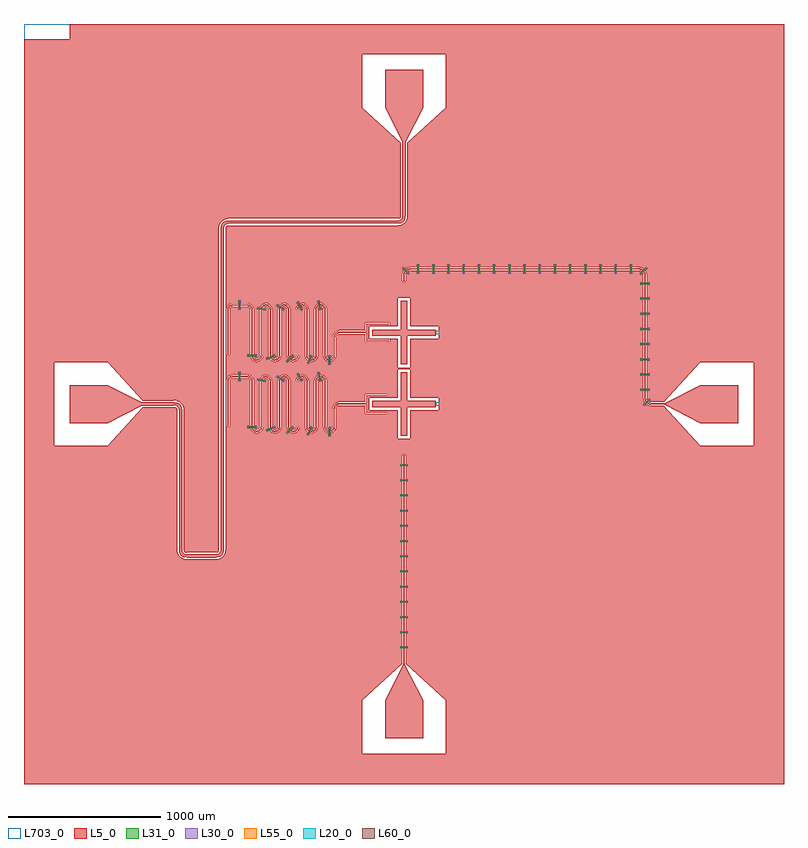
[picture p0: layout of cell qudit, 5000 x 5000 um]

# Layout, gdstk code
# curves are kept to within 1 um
import gdstk
lib = gdstk.Library(unit=1e-6, precision=1e-09)
def R(c, l, rs):  # rectangles x0, y0, x1, y1
    for r in rs: c.add(gdstk.rectangle(r[:2], r[2:], *l))
def A(c, l, x, y, w, h, nx, ny, dx, dy):  # array of equal rectangles
    R(c, l, [(x+i*dx, y+j*dy, x+i*dx+w, y+j*dy+h) for i in range(nx) for j in range(ny)])
def P(c, l, *ps):  # polygons
    for p in ps: c.add(gdstk.Polygon(p, *l))
L5_0 = (5, 0)
L20_0 = (20, 0)
L30_0 = (30, 0)
L31_0 = (31, 0)
L55_0 = (55, 0)
L60_0 = (60, 0)
L703_0 = (703, 0)

qudit = lib.new_cell('qudit')
P(qudit, L5_0, [(-125,-2200),(-125,-1950),(-5,-1713.945),(-5,-341),(-2.5,-330.5),(-2.5,-237),(2.5,-237),(2.5,-330.5),(5,-341),(5,-1713.945),(125,-1950),(125,-2200)],
  [(-20,-210),(-20,-20),(-210,-20),(-210,20),(-20,20),(-20,210),(20,210),(20,20),(210,20),(210,-20),(20,-20),(20,-210)],
  [(-20,260),(-20,450),(-210,450),(-210,490),(-20,490),(-20,680),(20,680),(20,490),(210,490),(210,450),(20,450),(20,260)],
  [(1950,-125),(1713.945,-5),(1631.118,-4.981),(1615.258,-3.577),(1605.235,-0.35),(1596.549,5.124),(1589.528,12.616),(1584.629,21.633),(1581.808,32.864),(1581.004,47.031),(1580.941,844.47),(1579.778,856.248),(1576.774,865.092),(1571.222,872.722),(1563.592,878.274),(1552.962,881.605),(1537.999,882.499),(35.837,881.987),(24.716,879.335),(16.211,874.065),(9.604,865.807),(6.106,855.656),(5,811),(2.5,800.5),(2.5,707),(-2.5,707),(-2.5,800.5),(-5,811),(-4.596,851.057),(0.323,869.646),(7.707,879.793),(17.854,887.177),(29.547,891.135),(45.118,892.481),(1538.426,892.498),(1555.297,891.351),(1568.146,887.177),(1577.965,880.117),(1585.174,870.597),(1589.262,859.688),(1590.909,845.701),(1591.014,45.63),(1592.857,28.582),(1598.836,16.915),(1608.925,8.968),(1622.207,5.473),(1713.945,5),(1950,125),(2200,125),(2200,-125)],
  [(-1421.349,-1010),(-1445.23,-1007.651),(-1454.269,-1004.207),(-1462.634,-998.732),(-1469.806,-991.281),(-1474.958,-982.713),(-1479.737,-961.894),(-1480.006,-46.709),(-1481.209,-31.832),(-1485.356,-21.869),(-1495.552,-13.255),(-1510.712,-10.147),(-1723.781,-10),(-1950,-125),(-2200,-125),(-2200,125),(-1950,125),(-1723.78,10),(-1508.106,9.737),(-1487.601,5.101),(-1479.271,0.221),(-1472.278,-6.184),(-1463.009,-22.536),(-1460.029,-44.354),(-1459.999,-951.989),(-1458.402,-969.796),(-1454.644,-978.131),(-1448.29,-984.534),(-1440.39,-988.239),(-1429.528,-989.841),(-1238.048,-989.909),(-1224.642,-987.946),(-1215.366,-982.68),(-1208.054,-971.358),(-1206.006,-953.291),(-1205.999,1148.03),(-1205.031,1164.603),(-1201.583,1177.29),(-1194.063,1189.426),(-1183.14,1198.619),(-1170.275,1203.901),(-1153.932,1205.92),(-46.709,1206.006),(-31.112,1207.371),(-20.777,1212.151),(-12.613,1223.061),(-10.04,1239.907),(-10,1723.781),(-125,1950),(-125,2200),(125,2200),(125,1950),(10,1723.78),(9.911,1237.779),(8.571,1224.734),(5.311,1214.075),(-0.194,1204.719),(-8.037,1196.725),(-24.291,1188.481),(-45.899,1186.011),(-1152.593,1185.949),(-1163.436,1184.941),(-1171.229,1182.366),(-1177.89,1177.48),(-1182.58,1170.797),(-1185.256,1161.611),(-1185.999,1147.989),(-1186.572,-965.517),(-1190.417,-981.29),(-1198.393,-993.945),(-1210.357,-1003.48),(-1225.206,-1008.661),(-1242.455,-1009.993)],
  [(0.052,-2500),(0.052,-2300),(275,-2300),(275,-1950),(11,-1708.905),(11,-341),(5.5,-330.5),(5.5,-234),(0.052,-234),(0.052,-230),(40,-230),(40,-40),(230,-40),(230,40),(40,40),(40,230),(0.052,230),(0.052,240),(40,240),(40,430),(230,430),(230,510),(40,510),(40,700),(0.052,700),(0.052,704),(5.5,704),(5.5,800.5),(11,811),(12.081,854.95),(14.653,862.525),(19.285,868.739),(30.171,874.857),(47.622,876.498),(1537.987,876.499),(1551.569,875.751),(1560.778,872.974),(1566.979,868.479),(1571.557,862.112),(1574.943,844.316),(1575.015,45.47),(1576.971,26.128),(1583.27,11.146),(1589.34,3.59),(1597.146,-2.73),(1605.787,-7.089),(1615.661,-9.76),(1630.764,-10.977),(1708.905,-11),(1950,-275),(2300,-275),(2300,275),(1950,275),(1708.905,11),(1622.39,11.489),(1610.242,15.051),(1601.621,23.287),(1598.081,32.55),(1597.006,46.714),(1596.896,846.191),(1594.99,861.534),(1590.185,873.934),(1581.905,884.654),(1570.878,892.519),(1556.818,897.174),(1538.996,898.496),(0.052,898.5),(0.052,1187.833),(9.477,1197.612),(16.308,1209.272),(20.349,1222.436),(21.928,1238.179),(22,1718.95),(275,1950),(275,2300),(0.052,2300),(0.052,2500),(2500,2500),(2500,-2500)],
  [(0.052,880.223),(0.052,898.5),(48.65,898.5),(32.192,897.656),(19.787,894.589),(14.185,892.026),(8.961,888.733),(4.222,884.776)],
  [(-2500,2300),(-2500,2400),(-2200,2400),(-2200,2500),(0.052,2500),(0.052,2300)],
  [(-1174,898.5),(-1173.887,1154.281),(-1171.116,1166.779),(-1167.332,1170.756),(-1162.334,1172.901),(-1147.319,1174),(-44.768,1174.022),(-19.663,1177.334),(-9.338,1181.592),(0.052,1187.833),(0.052,898.5)],
  [(-1174,700),(-1174,898.5),(0.052,898.5),(0.052,880.223),(-5.178,872.063),(-8.66,862.83),(-11,838.85),(-11,811),(-5.5,800.5),(-5.5,704),(0.052,704),(0.052,700)],
  [(-1174,230),(-1174,660.945),(-1129.044,660.945),(-1143.632,658.245),(-1156.338,650.501),(-1165.443,638.732),(-1169.748,624.489),(-1170,319.945),(-1164,319.945),(-1163.785,623.824),(-1160.36,635.487),(-1153.153,645.276),(-1143.033,652.009),(-1131.774,654.835),(-1023.47,654.506),(-1014.967,652.009),(-1007.364,647.457),(-1001.488,641.581),(-996.936,633.978),(-994.004,620.5),(-993.949,318.359),(-992.209,310.654),(-988.151,303.876),(-982.18,298.702),(-974.894,295.65),(-964.659,295.325),(-955.152,299.131),(-947.969,306.429),(-944.315,315.995),(-943.842,623.272),(-940.603,634.988),(-934.331,644.098),(-924.543,651.305),(-913.981,654.589),(-900.748,653.959),(-888.698,648.456),(-878.97,637.924),(-874.439,625.475),(-873.949,318.359),(-872.209,310.654),(-868.651,304.491),(-862.848,299.131),(-856.423,296.073),(-845.442,295.2),(-835.82,298.702),(-827.969,306.429),(-824.315,315.995),(-823.842,623.272),(-820.603,634.988),(-814.331,644.098),(-804.543,651.305),(-793.981,654.589),(-780.748,653.959),(-768.698,648.456),(-758.97,637.924),(-754.439,625.475),(-753.949,318.359),(-752.209,310.654),(-748.651,304.491),(-743.501,299.581),(-737.176,296.321),(-726.229,295.1),(-715.82,298.702),(-707.969,306.429),(-704.315,315.995),(-703.842,623.272),(-701.064,633.978),(-695.085,643.282),(-685.53,650.796),(-675.078,654.414),(-661.832,654.204),(-648.698,648.456),(-638.97,637.924),(-634.439,625.475),(-633.949,318.359),(-632.492,311.395),(-629.131,305.123),(-618.658,296.887),(-607.019,295.024),(-596.5,298.295),(-588.409,305.769),(-584.315,315.995),(-583.842,623.272),(-581.064,633.978),(-575.085,643.282),(-566.5,650.256),(-556.168,654.204),(-541.832,654.204),(-528.698,648.456),(-518.97,637.924),(-514.439,625.475),(-513.987,319.152),(-510.031,306.429),(-500.806,297.909),(-490.19,294.974),(-479.342,296.887),(-470.369,303.276),(-465.013,312.902),(-463.89,442.719),(-460.603,454.988),(-452.748,465.656),(-442.522,472.228),(-430.665,474.906),(-249,474.945),(-249,529),(-99,529),(-99,519),(-239,519),(-239,421),(-99,421),(-99,411),(-249,411),(-249,464.945),(-436.043,463.932),(-442.848,460.759),(-448.151,456.015),(-451.903,449.968),(-453.799,443.11),(-454.017,318.835),(-456.507,306.937),(-464.448,295),(-476.509,287.249),(-490.665,284.984),(-504.543,288.585),(-511.921,293.493),(-518.444,301.022),(-522.253,309.024),(-523.93,317.725),(-524.202,623.11),(-527.969,633.461),(-535.152,640.759),(-544.659,644.565),(-554.894,644.24),(-562.18,641.188),(-568.151,636.014),(-572.209,629.236),(-573.949,621.531),(-574.632,313.321),(-580.815,299.193),(-592.47,289.094),(-607.335,284.984),(-622.522,287.662),(-631.07,292.779),(-637.185,299.193),(-641.89,307.974),(-643.93,317.725),(-644.202,623.11),(-647.154,632.1),(-653.86,639.839),(-663.106,644.24),(-673.341,644.565),(-681.5,641.595),(-687.631,636.614),(-692.209,629.236),(-693.949,621.531),(-694.632,313.321),(-700.815,299.193),(-711.5,289.634),(-726.226,285.054),(-740.448,286.869),(-750.197,292.093),(-757.185,299.193),(-761.89,307.974),(-763.93,317.725),(-764.315,623.895),(-767.969,633.461),(-774.499,640.309),(-783.106,644.24),(-793.341,644.565),(-801.5,641.595),(-807.631,636.614),(-812.209,629.236),(-813.949,621.531),(-814.632,313.321),(-820.171,300.098),(-830.547,290.204),(-844.019,285.301),(-858.327,286.21),(-867.453,290.204),(-875.812,297.447),(-881.493,306.937),(-883.93,317.725),(-884.315,623.895),(-887.551,632.787),(-893.86,639.839),(-903.106,644.24),(-912.558,644.69),(-920.806,641.981),(-927.093,637.197),(-931.902,629.968),(-933.949,621.531),(-934.632,313.321),(-940.171,300.098),(-950.547,290.204),(-962.922,285.476),(-977.252,285.931),(-987.453,290.204),(-995.812,297.447),(-1001.064,305.912),(-1003.842,316.618),(-1004.003,620.342),(-1006.097,629.968),(-1014.177,640.077),(-1026.229,644.791),(-1131.376,644.832),(-1139.745,642.518),(-1146.817,637.482),(-1151.903,629.968),(-1153.95,621.531),(-1154,319.945),(-1148,319.945),(-1147.94,621.451),(-1146.283,627.838),(-1142.541,633.273),(-1136.893,637.228),(-1130.506,638.885),(-1027.194,638.859),(-1017.979,635.422),(-1011.594,627.563),(-1010,619.901),(-1009.816,316.048),(-1006.562,303.506),(-999.557,292.607),(-989.501,284.437),(-977.397,279.813),(-960.603,279.813),(-946.289,285.808),(-934.507,297.778),(-928.74,312.185),(-927.96,621.15),(-926.405,627.562),(-922.75,633.056),(-917.437,636.968),(-911.704,638.75),(-903.937,638.257),(-897.02,634.691),(-892.113,628.651),(-890.04,621.15),(-889.486,313.467),(-886.021,302.323),(-879.557,292.607),(-870.617,285.105),(-859.926,280.426),(-843.165,279.361),(-827.383,285.105),(-815.228,296.695),(-808.74,312.185),(-807.96,621.15),(-806.638,627.006),(-803.159,632.613),(-798.499,636.398),(-792.299,638.655),(-783.937,638.257),(-777.02,634.691),(-772.113,628.651),(-770.04,621.15),(-769.672,314.755),(-766.562,303.506),(-760.409,293.59),(-751.711,285.808),(-742.41,281.199),(-733.545,279.196),(-724.455,279.196),(-708.499,284.437),(-701.18,289.826),(-695.228,296.695),(-688.74,312.185),(-687.96,621.15),(-686.638,627.006),(-683.159,632.613),(-678.499,636.398),(-672.299,638.655),(-663.937,638.257),(-657.02,634.691),(-652.113,628.651),(-650.04,621.15),(-649.672,314.755),(-647.064,304.706),(-642.017,295.635),(-634.854,288.122),(-624.841,282.127),(-616.12,279.567),(-607.049,278.99),(-598.074,280.426),(-589.636,283.804),(-582.15,288.958),(-575.983,295.635),(-571.438,303.506),(-568.74,312.185),(-567.989,620.548),(-566.638,627.006),(-563.554,632.157),(-553.479,638.408),(-545.701,638.655),(-538.476,635.763),(-533.017,630.216),(-530.154,622.35),(-529.919,317.345),(-527.954,307.151),(-523.493,297.778),(-515.85,288.958),(-507.207,283.208),(-490.951,278.99),(-474.367,281.644),(-460.239,290.724),(-450.936,304.706),(-448.019,318.644),(-447.883,442.051),(-443.555,452.158),(-434.353,458.175),(-254,458.945),(-254,406),(-94,406),(-94,426),(-234,426),(-234,514),(-94,514),(-94,534),(-254,534),(-254,480.945),(-431.6,480.863),(-445.438,477.506),(-457.293,469.618),(-466.02,457.567),(-469.871,443.194),(-470.61,315.174),(-474.446,307.733),(-481.108,302.663),(-489.904,300.968),(-497.972,303.199),(-504.983,309.674),(-507.989,319.342),(-508.514,626.423),(-514.507,642.112),(-525.217,653.344),(-540.603,660.077),(-557.397,660.077),(-568.364,656.086),(-578.674,648.239),(-586.021,637.567),(-589.486,626.423),(-590.087,318.139),(-593.017,309.674),(-599.501,303.492),(-608.096,300.968),(-616.892,302.663),(-624.983,309.674),(-627.989,319.342),(-628.514,626.423),(-634.507,642.112),(-645.217,653.344),(-659.334,659.791),(-676.12,660.323),(-688.364,656.086),(-698.674,648.239),(-706.021,637.567),(-709.486,626.423),(-710.087,318.139),(-713.017,309.674),(-718.983,303.801),(-726.894,301.063),(-735.214,301.991),(-744.299,308.681),(-747.989,319.342),(-748.514,626.423),(-754.507,642.112),(-765.217,653.344),(-779.334,659.791),(-794.835,660.529),(-807.207,656.682),(-817.761,649.166),(-825.443,638.733),(-829.486,626.423),(-830.04,318.74),(-832.398,310.708),(-838.476,304.127),(-846.296,301.14),(-854.641,301.803),(-863.934,308.201),(-867.989,319.342),(-868.514,626.423),(-873.821,641.006),(-884.169,652.572),(-898.074,659.464),(-913.545,660.694),(-926.033,657.241),(-936.82,650.064),(-944.829,639.88),(-949.486,626.423),(-950.04,318.74),(-952.398,310.708),(-957.98,304.469),(-965.701,301.235),(-974.063,301.633),(-983.554,307.733),(-987.96,318.74),(-988.005,620.596),(-989.155,629.611),(-992.264,638.152),(-998.014,646.795),(-1005.217,653.343),(-1013.762,658.008),(-1023.81,660.615),(-1174,660.945),(-1174,700),(-40,700),(-40,510),(-230,510),(-230,430),(-40,430),(-40,240),(0.052,240),(0.052,230)],
  [(-1174,-234),(-1174,190.945),(-1129.044,190.945),(-1143.632,188.245),(-1156.338,180.501),(-1165.443,168.732),(-1169.748,154.489),(-1170,-150.055),(-1164,-150.055),(-1163.785,153.824),(-1160.36,165.487),(-1153.153,175.276),(-1143.033,182.009),(-1131.774,184.835),(-1023.47,184.506),(-1014.967,182.009),(-1007.364,177.457),(-1001.488,171.581),(-996.936,163.978),(-994.004,150.5),(-993.949,-151.641),(-992.209,-159.346),(-988.151,-166.124),(-982.18,-171.298),(-974.894,-174.35),(-964.659,-174.675),(-955.152,-170.869),(-947.969,-163.571),(-944.315,-154.005),(-943.842,153.272),(-940.603,164.988),(-934.331,174.098),(-924.543,181.305),(-913.981,184.589),(-900.748,183.959),(-888.698,178.456),(-878.97,167.924),(-874.439,155.475),(-873.949,-151.641),(-872.209,-159.346),(-868.651,-165.509),(-862.848,-170.869),(-856.423,-173.927),(-845.442,-174.8),(-835.82,-171.298),(-827.969,-163.571),(-824.315,-154.005),(-823.842,153.272),(-820.603,164.988),(-814.331,174.098),(-804.543,181.305),(-793.981,184.589),(-780.748,183.959),(-768.698,178.456),(-758.97,167.924),(-754.439,155.475),(-753.949,-151.641),(-752.209,-159.346),(-748.651,-165.509),(-743.501,-170.419),(-737.176,-173.679),(-726.229,-174.9),(-715.82,-171.298),(-707.969,-163.571),(-704.315,-154.005),(-703.842,153.272),(-701.064,163.978),(-695.085,173.282),(-685.53,180.796),(-675.078,184.414),(-661.832,184.204),(-648.698,178.456),(-638.97,167.924),(-634.439,155.475),(-633.949,-151.641),(-632.492,-158.605),(-629.131,-164.877),(-618.658,-173.113),(-607.019,-174.976),(-596.5,-171.705),(-588.409,-164.231),(-584.315,-154.005),(-583.842,153.272),(-581.064,163.978),(-575.812,172.443),(-567.453,179.686),(-557.252,183.959),(-542.922,184.414),(-529.612,179.085),(-519.556,168.868),(-514.439,155.475),(-513.987,-150.848),(-510.031,-163.571),(-500.806,-172.091),(-490.981,-174.976),(-480.078,-173.408),(-470.907,-167.307),(-465.508,-158.605),(-464,-150.015),(-463.561,-24.525),(-460.603,-15.012),(-455.084,-6.718),(-447.453,-0.314),(-438.861,3.527),(-429.02,4.945),(-249,4.945),(-249,59),(-114,59),(-114,49),(-239,49),(-239,-49),(-114,-49),(-114,-59),(-249,-59),(-249,-5.055),(-428.98,-5.055),(-436.423,-6.183),(-442.848,-9.241),(-448.151,-13.985),(-451.903,-20.032),(-453.799,-26.89),(-454.017,-151.165),(-456.507,-163.063),(-464.448,-175),(-477.552,-183.131),(-491.774,-184.946),(-505.53,-180.906),(-512.748,-175.766),(-518.444,-168.978),(-522.253,-160.976),(-523.93,-152.275),(-524.202,153.11),(-527.969,163.461),(-535.152,170.759),(-544.659,174.565),(-554.894,174.24),(-562.18,171.188),(-568.151,166.014),(-572.209,159.236),(-573.949,151.531),(-574.632,-156.679),(-580.815,-170.807),(-592.47,-180.906),(-607.335,-185.016),(-622.522,-182.338),(-631.07,-177.221),(-637.185,-170.807),(-641.89,-162.026),(-643.93,-152.275),(-644.315,153.895),(-647.969,163.461),(-655.152,170.759),(-664.659,174.565),(-674.12,174.414),(-682.18,171.188),(-688.151,166.014),(-692.209,159.236),(-693.949,151.531),(-694.632,-156.679),(-700.815,-170.807),(-711.5,-180.366),(-726.226,-184.946),(-740.448,-183.131),(-750.197,-177.907),(-757.185,-170.807),(-761.89,-162.026),(-763.93,-152.275),(-764.315,153.895),(-767.969,163.461),(-774.499,170.309),(-783.106,174.24),(-793.341,174.565),(-801.5,171.595),(-807.631,166.614),(-812.209,159.236),(-813.949,151.531),(-814.632,-156.679),(-820.171,-169.902),(-830.547,-179.796),(-844.019,-184.699),(-858.327,-183.79),(-867.453,-179.796),(-875.812,-172.553),(-881.493,-163.063),(-883.93,-152.275),(-884.315,153.895),(-887.551,162.787),(-893.86,169.839),(-903.106,174.24),(-912.558,174.69),(-920.806,171.981),(-927.093,167.197),(-931.902,159.968),(-933.949,151.531),(-934.632,-156.679),(-940.171,-169.902),(-950.547,-179.796),(-962.922,-184.524),(-977.252,-184.069),(-987.453,-179.796),(-995.812,-172.553),(-1001.064,-164.088),(-1003.842,-153.382),(-1004.003,150.342),(-1006.097,159.968),(-1014.177,170.077),(-1026.229,174.791),(-1131.376,174.832),(-1139.745,172.518),(-1146.817,167.482),(-1151.903,159.968),(-1153.95,151.531),(-1154,-150.055),(-1148,-150.055),(-1147.94,151.451),(-1146.283,157.838),(-1142.541,163.273),(-1136.893,167.228),(-1130.506,168.885),(-1027.194,168.859),(-1017.735,165.245),(-1011.476,157.285),(-1010,149.901),(-1009.816,-153.952),(-1006.562,-166.494),(-1000.409,-176.41),(-990.617,-184.895),(-978.666,-189.901),(-961.88,-190.433),(-946.289,-184.192),(-934.507,-172.222),(-928.74,-157.815),(-927.96,151.15),(-926.405,157.562),(-922.75,163.056),(-917.437,166.968),(-911.704,168.75),(-903.937,168.257),(-897.02,164.691),(-892.113,158.651),(-890.04,151.15),(-889.486,-156.533),(-886.021,-167.677),(-879.557,-177.393),(-870.617,-184.895),(-859.926,-189.574),(-843.165,-190.639),(-827.383,-184.895),(-815.228,-173.305),(-808.74,-157.815),(-807.96,151.15),(-806.638,157.006),(-803.159,162.613),(-798.499,166.398),(-792.299,168.655),(-783.937,168.257),(-777.02,164.691),(-772.113,158.651),(-770.04,151.15),(-769.672,-155.245),(-766.562,-166.494),(-760.409,-176.41),(-751.711,-184.192),(-742.41,-188.801),(-733.545,-190.804),(-724.455,-190.804),(-708.499,-185.563),(-701.18,-180.174),(-695.228,-173.305),(-688.74,-157.815),(-687.96,151.15),(-686.638,157.006),(-683.159,162.613),(-672.891,168.541),(-665.109,168.541),(-657.98,165.421),(-652.7,159.704),(-650.154,152.35),(-649.919,-152.655),(-647.529,-164.078),(-642.772,-173.305),(-634.854,-181.878),(-624.841,-187.873),(-616.12,-190.433),(-607.049,-191.01),(-598.074,-189.574),(-589.636,-186.196),(-582.15,-181.042),(-575.983,-174.365),(-571.438,-166.494),(-568.74,-157.815),(-567.989,150.548),(-566.638,157.006),(-563.554,162.157),(-553.479,168.408),(-545.701,168.655),(-538.476,165.763),(-533.017,160.216),(-530.154,152.35),(-529.919,-152.655),(-527.954,-162.849),(-523.493,-172.222),(-516.82,-180.174),(-508.364,-186.196),(-492.249,-190.927),(-475.59,-188.801),(-461.18,-180.174),(-451.438,-166.494),(-448.019,-151.356),(-447.883,-27.949),(-443.555,-17.842),(-434.641,-11.912),(-254,-11.055),(-254,-64),(-109,-64),(-109,-44),(-234,-44),(-234,44),(-109,44),(-109,64),(-254,64),(-254,10.945),(-431.6,10.863),(-445.438,7.506),(-457.293,-0.382),(-466.02,-12.433),(-469.871,-26.806),(-470.61,-154.826),(-474.841,-162.723),(-481.66,-167.578),(-490.506,-168.994),(-498.499,-166.508),(-505.3,-159.814),(-507.989,-150.658),(-508.514,156.423),(-514.507,172.112),(-525.217,183.344),(-540.603,190.077),(-557.397,190.077),(-568.364,186.086),(-578.674,178.239),(-586.021,167.567),(-589.486,156.423),(-590.087,-151.861),(-593.017,-160.326),(-599.501,-166.508),(-608.096,-169.032),(-616.892,-167.337),(-624.983,-160.326),(-627.989,-150.658),(-628.514,156.423),(-634.507,172.112),(-645.217,183.344),(-659.334,189.791),(-676.12,190.323),(-688.364,186.086),(-698.674,178.239),(-706.021,167.567),(-709.486,156.423),(-710.087,-151.861),(-713.017,-160.326),(-718.983,-166.199),(-726.894,-168.937),(-735.78,-167.803),(-744.649,-160.828),(-747.989,-150.658),(-748.514,156.423),(-754.507,172.112),(-765.217,183.344),(-779.334,189.791),(-794.835,190.529),(-807.207,186.682),(-817.761,179.166),(-825.443,168.733),(-829.486,156.423),(-830.04,-151.26),(-832.398,-159.292),(-838.476,-165.873),(-846.296,-168.86),(-854.641,-168.197),(-863.934,-161.799),(-867.989,-150.658),(-868.514,156.423),(-873.821,171.006),(-884.169,182.572),(-898.074,189.464),(-913.545,190.694),(-926.033,187.241),(-936.82,180.064),(-944.829,169.88),(-949.486,156.423),(-950.04,-151.26),(-952.398,-159.292),(-957.98,-165.531),(-965.701,-168.765),(-974.063,-168.367),(-983.554,-162.267),(-987.96,-151.26),(-988.005,150.596),(-989.155,159.611),(-992.264,168.152),(-998.014,176.795),(-1005.217,183.343),(-1013.762,188.008),(-1023.81,190.615),(-1174,190.945),(-1174,230),(-40,230),(-40,40),(-230,40),(-230,-40),(-40,-40),(-40,-230),(0.052,-230),(0.052,-234)],
  [(-2500,-2500),(-2500,2300),(-275,2300),(-275,1950),(-22,1718.95),(-22.008,1242.407),(-22.956,1230.283),(-26.011,1223.659),(-33.146,1219.233),(-46.901,1218.005),(-1156.039,1217.852),(-1176.534,1214.605),(-1193.334,1206.256),(-1206.637,1192.801),(-1214.958,1175.352),(-1217.321,1163.151),(-1218,1147.36),(-1218.002,-952.346),(-1218.808,-964.989),(-1221.724,-971.986),(-1227.919,-976.39),(-1238.91,-977.931),(-1426.193,-977.955),(-1440.121,-975.497),(-1444.43,-971.785),(-1446.818,-966.662),(-1448,-951.319),(-1448.09,-41.553),(-1450.007,-24.724),(-1454.99,-10.503),(-1463.582,2.094),(-1475.009,11.861),(-1490.845,19.015),(-1509.961,21.852),(-1718.95,22),(-1950,275),(-2300,275),(-2300,-275),(-1950,-275),(-1718.95,-22),(-1514.73,-22.027),(-1504.715,-22.866),(-1498.585,-25.302),(-1493.481,-32.306),(-1492.012,-45.92),(-1491.998,-952.477),(-1489.439,-977.592),(-1482.903,-993.324),(-1472.418,-1006.124),(-1458.713,-1015.396),(-1442.249,-1020.593),(-1423.188,-1021.995),(-1239.716,-1021.962),(-1214.276,-1018.224),(-1203.807,-1013.565),(-1194.56,-1006.997),(-1186.523,-998.388),(-1180.416,-988.319),(-1176.511,-977.397),(-1174.44,-964.706),(-1174,-234),(-5.5,-234),(-5.5,-330.5),(-11,-341),(-11,-1708.905),(-275,-1950),(-275,-2300),(0.052,-2300),(0.052,-2500)])
R(qudit, L20_0, [(221,-11.5,229,-8.5), (221,8.5,229,11.5), (221,458.5,229,461.5), (221,478.5,229,481.5)])
P(qudit, L20_0, [(211,-11.5),(211,-8.5),(219,-8.5),(219.5,-9.945),(220.86,-9.945),(220.86,-10.055),(219.5,-10.055),(219,-11.5)],
  [(211,8.5),(211,11.5),(219,11.5),(219.5,10.1),(220.86,10.1),(220.86,9.9),(219.5,9.9),(219,8.5)],
  [(211,458.5),(211,461.5),(219,461.5),(219.5,460.055),(220.86,460.055),(220.86,459.945),(219.5,459.945),(219,458.5)],
  [(211,478.5),(211,481.5),(219,481.5),(219.5,480.1),(220.86,480.1),(220.86,479.9),(219.5,479.9),(219,478.5)])
A(qudit, L30_0, -22.5, -1607, 10, 10.5, 1, 13, 0, 100)
A(qudit, L30_0, 12.5, -1607, 10, 10.5, 1, 13, 0, 100)
A(qudit, L30_0, 1556.5, 87.25, 14, 13, 1, 8, 0, 100)
A(qudit, L30_0, 1601.5, 87.25, 14, 13, 1, 8, 0, 100)
A(qudit, L30_0, 86.5, 858, 13, 14, 15, 2, 100, 45)
R(qudit, L30_0, [(-1087.841,150.445,-1074.841,164.445), (-1087.841,195.445,-1074.841,209.445), (-1087.841,620.445,-1074.841,634.445), (-1087.841,665.445,-1074.841,679.445)])
P(qudit, L30_0, [(1580.931,-14.182),(1571.756,-4.972),(1581.675,4.909),(1590.849,-4.301)],
  [(1612.811,17.577),(1603.637,26.787),(1613.555,36.668),(1622.73,27.458)],
  [(1558.542,850.77),(1549.332,859.945),(1559.213,869.863),(1568.423,860.689)],
  [(1590.301,882.651),(1581.091,891.825),(1590.972,901.744),(1600.182,892.569)],
  [(-555.088,619.079),(-558.172,632.735),(-545.492,635.599),(-542.408,621.943)],
  [(-674.403,616.828),(-682.341,628.359),(-671.634,635.731),(-663.695,624.199)],
  [(-954.842,623.002),(-968.545,625.87),(-965.882,638.594),(-952.179,635.727)],
  [(-830.372,639.895),(-842.028,647.65),(-834.827,658.473),(-823.171,650.718)],
  [(-699.92,653.893),(-707.859,665.425),(-697.151,672.796),(-689.213,661.265)],
  [(-565.002,662.973),(-568.086,676.629),(-555.406,679.493),(-552.322,665.837)],
  [(-910.796,143.786),(-924.499,146.653),(-921.836,159.378),(-908.133,156.51)],
  [(-792.907,144.969),(-804.563,152.724),(-797.362,163.547),(-785.706,155.792)],
  [(-555.088,149.079),(-558.172,162.735),(-545.492,165.599),(-542.408,151.943)],
  [(-674.403,146.828),(-682.341,158.359),(-671.634,165.731),(-663.695,154.199)],
  [(27.555,850.832),(17.637,860.713),(26.811,869.923),(36.73,860.042)],
  [(-954.842,153.002),(-968.545,155.87),(-965.882,168.594),(-952.179,165.727)],
  [(-830.372,169.895),(-842.028,177.65),(-834.827,188.473),(-823.171,180.718)],
  [(-482.548,-164.763),(-495.542,-164.351),(-495.098,-150.358),(-482.104,-150.77)],
  [(-608.558,-166.072),(-620.467,-160.86),(-614.854,-148.035),(-602.945,-153.247)],
  [(-699.92,183.893),(-707.859,195.425),(-697.151,202.796),(-689.213,191.265)],
  [(-565.002,192.973),(-568.086,206.629),(-555.406,209.493),(-552.322,195.837)],
  [(-483.976,260.26),(-496.97,260.672),(-496.526,274.665),(-483.532,274.253)],
  [(-626.6,262.703),(-638.509,267.915),(-632.896,280.74),(-620.987,275.528)],
  [(-766.677,273.408),(-775.796,282.673),(-765.818,292.494),(-756.699,283.229)],
  [(-734.606,-165.026),(-743.725,-155.761),(-733.747,-145.94),(-724.628,-155.205)],
  [(-859.802,-161.788),(-864.825,-149.797),(-851.912,-144.389),(-846.889,-156.379)],
  [(-901.308,290.827),(-906.331,302.817),(-893.418,308.226),(-888.395,296.235)],
  [(-4.325,882.591),(-14.244,892.472),(-5.069,901.682),(4.849,891.801)],
  [(-482.548,305.237),(-495.542,305.649),(-495.098,319.642),(-482.104,319.23)],
  [(-608.558,303.928),(-620.467,309.14),(-614.854,321.965),(-602.945,316.753)],
  [(-734.606,304.974),(-743.725,314.239),(-733.747,324.06),(-724.628,314.795)],
  [(-859.802,308.212),(-864.825,320.203),(-851.912,325.611),(-846.889,313.621)],
  [(-1028.385,312.442),(-1028.591,325.44),(-1014.593,325.662),(-1014.387,312.664)],
  [(-983.391,313.156),(-983.597,326.154),(-969.599,326.376),(-969.393,313.378)],
  [(-1028.385,-157.558),(-1028.591,-144.56),(-1014.593,-144.338),(-1014.387,-157.336)],
  [(-983.391,-156.844),(-983.597,-143.846),(-969.599,-143.624),(-969.393,-156.622)],
  [(-483.976,-209.74),(-496.97,-209.328),(-496.526,-195.335),(-483.532,-195.747)],
  [(-626.6,-207.297),(-638.509,-202.085),(-632.896,-189.26),(-620.987,-194.472)],
  [(-766.677,-196.592),(-775.796,-187.327),(-765.818,-177.506),(-756.699,-186.771)],
  [(-901.308,-179.173),(-906.331,-167.183),(-893.418,-161.774),(-888.395,-173.765)],
  [(-910.796,613.786),(-924.499,616.653),(-921.836,629.378),(-908.133,626.51)],
  [(-792.907,614.969),(-804.563,622.724),(-797.362,633.547),(-785.706,625.792)])
P(qudit, L31_0, [(-24,-1608.5),(-24,-1595),(-11,-1595),(-11,-1598),(11,-1598),(11,-1595),(24,-1595),(24,-1608.5),(11,-1608.5),(11,-1605.5),(-11,-1605.5),(-11,-1608.5)],
  [(-24,-1508.5),(-24,-1495),(-11,-1495),(-11,-1498),(11,-1498),(11,-1495),(24,-1495),(24,-1508.5),(11,-1508.5),(11,-1505.5),(-11,-1505.5),(-11,-1508.5)],
  [(-24,-1408.5),(-24,-1395),(-11,-1395),(-11,-1398),(11,-1398),(11,-1395),(24,-1395),(24,-1408.5),(11,-1408.5),(11,-1405.5),(-11,-1405.5),(-11,-1408.5)],
  [(-24,-1308.5),(-24,-1295),(-11,-1295),(-11,-1298),(11,-1298),(11,-1295),(24,-1295),(24,-1308.5),(11,-1308.5),(11,-1305.5),(-11,-1305.5),(-11,-1308.5)],
  [(-24,-1208.5),(-24,-1195),(-11,-1195),(-11,-1198),(11,-1198),(11,-1195),(24,-1195),(24,-1208.5),(11,-1208.5),(11,-1205.5),(-11,-1205.5),(-11,-1208.5)],
  [(-24,-1108.5),(-24,-1095),(-11,-1095),(-11,-1098),(11,-1098),(11,-1095),(24,-1095),(24,-1108.5),(11,-1108.5),(11,-1105.5),(-11,-1105.5),(-11,-1108.5)],
  [(-24,-1008.5),(-24,-995),(-11,-995),(-11,-998),(11,-998),(11,-995),(24,-995),(24,-1008.5),(11,-1008.5),(11,-1005.5),(-11,-1005.5),(-11,-1008.5)],
  [(-24,-908.5),(-24,-895),(-11,-895),(-11,-898),(11,-898),(11,-895),(24,-895),(24,-908.5),(11,-908.5),(11,-905.5),(-11,-905.5),(-11,-908.5)],
  [(-24,-808.5),(-24,-795),(-11,-795),(-11,-798),(11,-798),(11,-795),(24,-795),(24,-808.5),(11,-808.5),(11,-805.5),(-11,-805.5),(-11,-808.5)],
  [(-24,-708.5),(-24,-695),(-11,-695),(-11,-698),(11,-698),(11,-695),(24,-695),(24,-708.5),(11,-708.5),(11,-705.5),(-11,-705.5),(-11,-708.5)],
  [(-24,-608.5),(-24,-595),(-11,-595),(-11,-598),(11,-598),(11,-595),(24,-595),(24,-608.5),(11,-608.5),(11,-605.5),(-11,-605.5),(-11,-608.5)],
  [(-24,-508.5),(-24,-495),(-11,-495),(-11,-498),(11,-498),(11,-495),(24,-495),(24,-508.5),(11,-508.5),(11,-505.5),(-11,-505.5),(-11,-508.5)],
  [(-24,-408.5),(-24,-395),(-11,-395),(-11,-398),(11,-398),(11,-395),(24,-395),(24,-408.5),(11,-408.5),(11,-405.5),(-11,-405.5),(-11,-408.5)],
  [(-482.525,-211.287),(-498.517,-210.78),(-497.977,-193.788),(-494.979,-193.883),(-494.09,-165.897),(-497.089,-165.802),(-496.549,-148.811),(-480.557,-149.318),(-481.097,-166.31),(-484.095,-166.215),(-484.984,-194.201),(-481.985,-194.296)],
  [(-625.827,-209.273),(-640.485,-202.858),(-633.669,-187.284),(-630.921,-188.487),(-619.695,-162.836),(-622.443,-161.633),(-615.627,-146.059),(-600.969,-152.474),(-607.785,-168.048),(-610.533,-166.845),(-621.759,-192.496),(-619.011,-193.699)],
  [(-766.694,-198.713),(-777.917,-187.31),(-765.802,-175.385),(-763.697,-177.523),(-743.742,-157.882),(-745.846,-155.744),(-733.73,-143.819),(-722.507,-155.222),(-734.622,-167.147),(-736.727,-165.009),(-756.682,-184.65),(-754.578,-186.788)],
  [(-902.112,-181.137),(-908.294,-166.379),(-892.614,-159.811),(-891.455,-162.578),(-865.629,-151.76),(-866.788,-148.993),(-851.108,-142.425),(-844.926,-157.183),(-860.606,-163.751),(-861.765,-160.984),(-887.591,-171.802),(-886.432,-174.569)],
  [(-1029.861,-159.082),(-1030.115,-143.084),(-1013.117,-142.814),(-1013.07,-145.814),(-985.073,-145.37),(-985.121,-142.37),(-968.123,-142.1),(-967.869,-158.098),(-984.867,-158.368),(-984.914,-155.368),(-1012.911,-155.812),(-1012.863,-158.812)],
  [(1580.927,-16.303),(1569.635,-4.968),(1581.679,7.03),(1583.796,4.905),(1603.633,24.666),(1601.515,26.791),(1613.559,38.789),(1624.851,27.454),(1612.807,15.456),(1610.69,17.581),(1590.853,-2.18),(1592.971,-4.305)],
  [(1555,85.75),(1555,101.75),(1572,101.75),(1572,98.75),(1600,98.75),(1600,101.75),(1617,101.75),(1617,85.75),(1600,85.75),(1600,88.75),(1572,88.75),(1572,85.75)],
  [(-909.635,142.011),(-926.274,145.492),(-925.66,148.429),(-953.066,154.163),(-953.681,151.227),(-970.32,154.709),(-967.043,170.369),(-950.404,166.888),(-951.018,163.951),(-923.612,158.217),(-922.997,161.153),(-906.358,157.671)],
  [(-792.489,142.889),(-806.642,152.306),(-804.981,154.803),(-828.293,170.313),(-829.954,167.815),(-844.108,177.232),(-835.245,190.553),(-821.092,181.136),(-822.753,178.639),(-799.441,163.129),(-797.78,165.627),(-783.626,156.21)],
  [(1555,185.75),(1555,201.75),(1572,201.75),(1572,198.75),(1600,198.75),(1600,201.75),(1617,201.75),(1617,185.75),(1600,185.75),(1600,188.75),(1572,188.75),(1572,185.75)],
  [(-674.788,144.742),(-684.428,158.744),(-681.957,160.445),(-697.834,183.508),(-700.305,181.807),(-709.945,195.809),(-696.766,204.882),(-687.126,190.88),(-689.597,189.179),(-673.72,166.116),(-671.249,167.817),(-661.609,153.815)],
  [(-1089.341,148.945),(-1089.341,165.945),(-1086.341,165.945),(-1086.341,193.945),(-1089.341,193.945),(-1089.341,210.945),(-1073.341,210.945),(-1073.341,193.945),(-1076.341,193.945),(-1076.341,165.945),(-1073.341,165.945),(-1073.341,148.945)],
  [(-556.221,147.285),(-559.966,163.867),(-557.04,164.528),(-563.208,191.84),(-566.135,191.18),(-569.88,207.762),(-554.273,211.287),(-550.528,194.705),(-553.454,194.044),(-547.286,166.732),(-544.359,167.392),(-540.614,150.81)],
  [(1555,285.75),(1555,301.75),(1572,301.75),(1572,298.75),(1600,298.75),(1600,301.75),(1617,301.75),(1617,285.75),(1600,285.75),(1600,288.75),(1572,288.75),(1572,285.75)],
  [(-482.525,258.713),(-498.517,259.22),(-497.977,276.212),(-494.979,276.117),(-494.09,304.103),(-497.089,304.198),(-496.549,321.189),(-480.557,320.682),(-481.097,303.69),(-484.095,303.785),(-484.984,275.799),(-481.985,275.704)],
  [(-625.827,260.727),(-640.485,267.142),(-633.669,282.716),(-630.921,281.513),(-619.695,307.164),(-622.443,308.367),(-615.627,323.941),(-600.969,317.526),(-607.785,301.952),(-610.533,303.155),(-621.759,277.504),(-619.011,276.301)],
  [(-766.694,271.287),(-777.917,282.69),(-765.802,294.615),(-763.697,292.477),(-743.742,312.118),(-745.846,314.256),(-733.73,326.181),(-722.507,314.778),(-734.622,302.853),(-736.727,304.991),(-756.682,285.35),(-754.578,283.212)],
  [(-902.112,288.863),(-908.294,303.621),(-892.614,310.189),(-891.455,307.422),(-865.629,318.24),(-866.788,321.007),(-851.108,327.575),(-844.926,312.817),(-860.606,306.249),(-861.765,309.016),(-887.591,298.198),(-886.432,295.431)],
  [(-1029.861,310.918),(-1030.115,326.916),(-1013.117,327.186),(-1013.07,324.186),(-985.073,324.63),(-985.121,327.63),(-968.123,327.9),(-967.869,311.902),(-984.867,311.632),(-984.914,314.632),(-1012.911,314.188),(-1012.863,311.188)],
  [(1555,385.75),(1555,401.75),(1572,401.75),(1572,398.75),(1600,398.75),(1600,401.75),(1617,401.75),(1617,385.75),(1600,385.75),(1600,388.75),(1572,388.75),(1572,385.75)],
  [(1555,485.75),(1555,501.75),(1572,501.75),(1572,498.75),(1600,498.75),(1600,501.75),(1617,501.75),(1617,485.75),(1600,485.75),(1600,488.75),(1572,488.75),(1572,485.75)],
  [(1555,585.75),(1555,601.75),(1572,601.75),(1572,598.75),(1600,598.75),(1600,601.75),(1617,601.75),(1617,585.75),(1600,585.75),(1600,588.75),(1572,588.75),(1572,585.75)],
  [(-909.635,612.011),(-926.274,615.492),(-925.66,618.429),(-953.066,624.163),(-953.681,621.227),(-970.32,624.709),(-967.043,640.369),(-950.404,636.888),(-951.018,633.951),(-923.612,628.217),(-922.997,631.153),(-906.358,627.671)],
  [(-792.489,612.889),(-806.642,622.306),(-804.981,624.803),(-828.293,640.313),(-829.954,637.815),(-844.108,647.232),(-835.245,660.553),(-821.092,651.136),(-822.753,648.639),(-799.441,633.129),(-797.78,635.627),(-783.626,626.21)],
  [(-674.788,614.742),(-684.428,628.744),(-681.957,630.445),(-697.834,653.508),(-700.305,651.807),(-709.945,665.809),(-696.766,674.882),(-687.126,660.88),(-689.597,659.179),(-673.72,636.116),(-671.249,637.817),(-661.609,623.815)],
  [(-1089.341,618.945),(-1089.341,635.945),(-1086.341,635.945),(-1086.341,663.945),(-1089.341,663.945),(-1089.341,680.945),(-1073.341,680.945),(-1073.341,663.945),(-1076.341,663.945),(-1076.341,635.945),(-1073.341,635.945),(-1073.341,618.945)],
  [(-556.221,617.285),(-559.966,633.867),(-557.04,634.528),(-563.208,661.84),(-566.135,661.18),(-569.88,677.762),(-554.273,681.287),(-550.528,664.705),(-553.454,664.044),(-547.286,636.732),(-544.359,637.392),(-540.614,620.81)],
  [(1555,685.75),(1555,701.75),(1572,701.75),(1572,698.75),(1600,698.75),(1600,701.75),(1617,701.75),(1617,685.75),(1600,685.75),(1600,688.75),(1572,688.75),(1572,685.75)],
  [(1555,785.75),(1555,801.75),(1572,801.75),(1572,798.75),(1600,798.75),(1600,801.75),(1617,801.75),(1617,785.75),(1600,785.75),(1600,788.75),(1572,788.75),(1572,785.75)],
  [(27.559,848.711),(15.515,860.709),(17.633,862.834),(-2.204,882.595),(-4.321,880.47),(-16.365,892.468),(-5.073,903.803),(6.971,891.805),(4.853,889.68),(24.69,869.919),(26.807,872.044),(38.851,860.046)],
  [(1558.546,848.649),(1547.211,859.941),(1559.209,871.985),(1561.334,869.867),(1581.095,889.704),(1578.97,891.821),(1590.968,903.865),(1602.303,892.573),(1590.305,880.529),(1588.18,882.647),(1568.419,862.81),(1570.544,860.693)],
  [(85,856.5),(85,873.5),(88,873.5),(88,901.5),(85,901.5),(85,918.5),(101,918.5),(101,901.5),(98,901.5),(98,873.5),(101,873.5),(101,856.5)],
  [(185,856.5),(185,873.5),(188,873.5),(188,901.5),(185,901.5),(185,918.5),(201,918.5),(201,901.5),(198,901.5),(198,873.5),(201,873.5),(201,856.5)],
  [(285,856.5),(285,873.5),(288,873.5),(288,901.5),(285,901.5),(285,918.5),(301,918.5),(301,901.5),(298,901.5),(298,873.5),(301,873.5),(301,856.5)],
  [(385,856.5),(385,873.5),(388,873.5),(388,901.5),(385,901.5),(385,918.5),(401,918.5),(401,901.5),(398,901.5),(398,873.5),(401,873.5),(401,856.5)],
  [(485,856.5),(485,873.5),(488,873.5),(488,901.5),(485,901.5),(485,918.5),(501,918.5),(501,901.5),(498,901.5),(498,873.5),(501,873.5),(501,856.5)],
  [(585,856.5),(585,873.5),(588,873.5),(588,901.5),(585,901.5),(585,918.5),(601,918.5),(601,901.5),(598,901.5),(598,873.5),(601,873.5),(601,856.5)],
  [(685,856.5),(685,873.5),(688,873.5),(688,901.5),(685,901.5),(685,918.5),(701,918.5),(701,901.5),(698,901.5),(698,873.5),(701,873.5),(701,856.5)],
  [(785,856.5),(785,873.5),(788,873.5),(788,901.5),(785,901.5),(785,918.5),(801,918.5),(801,901.5),(798,901.5),(798,873.5),(801,873.5),(801,856.5)],
  [(885,856.5),(885,873.5),(888,873.5),(888,901.5),(885,901.5),(885,918.5),(901,918.5),(901,901.5),(898,901.5),(898,873.5),(901,873.5),(901,856.5)],
  [(985,856.5),(985,873.5),(988,873.5),(988,901.5),(985,901.5),(985,918.5),(1001,918.5),(1001,901.5),(998,901.5),(998,873.5),(1001,873.5),(1001,856.5)],
  [(1085,856.5),(1085,873.5),(1088,873.5),(1088,901.5),(1085,901.5),(1085,918.5),(1101,918.5),(1101,901.5),(1098,901.5),(1098,873.5),(1101,873.5),(1101,856.5)],
  [(1185,856.5),(1185,873.5),(1188,873.5),(1188,901.5),(1185,901.5),(1185,918.5),(1201,918.5),(1201,901.5),(1198,901.5),(1198,873.5),(1201,873.5),(1201,856.5)],
  [(1285,856.5),(1285,873.5),(1288,873.5),(1288,901.5),(1285,901.5),(1285,918.5),(1301,918.5),(1301,901.5),(1298,901.5),(1298,873.5),(1301,873.5),(1301,856.5)],
  [(1385,856.5),(1385,873.5),(1388,873.5),(1388,901.5),(1385,901.5),(1385,918.5),(1401,918.5),(1401,901.5),(1398,901.5),(1398,873.5),(1401,873.5),(1401,856.5)],
  [(1485,856.5),(1485,873.5),(1488,873.5),(1488,901.5),(1485,901.5),(1485,918.5),(1501,918.5),(1501,901.5),(1498,901.5),(1498,873.5),(1501,873.5),(1501,856.5)])
R(qudit, L55_0, [(208,-11.5,211,11.5), (229,-11.5,232,11.5), (208,458.5,211,481.5), (229,458.5,232,481.5)])
P(qudit, L60_0, [(219,-11.5),(219,-8.5),(219.5,-9.945),(221,-9.945),(221,-10.055),(219.5,-10.055)],
  [(219,8.5),(219,11.5),(219.5,10.1),(221,10.1),(221,9.9),(219.5,9.9)],
  [(219,458.5),(219,461.5),(219.5,460.055),(221,460.055),(221,459.945),(219.5,459.945)],
  [(219,478.5),(219,481.5),(219.5,480.1),(221,480.1),(221,479.9),(219.5,479.9)])
R(qudit, L703_0, [(-2500,-2500,2500,2500)])

lib.write_gds('qudit.gds')
